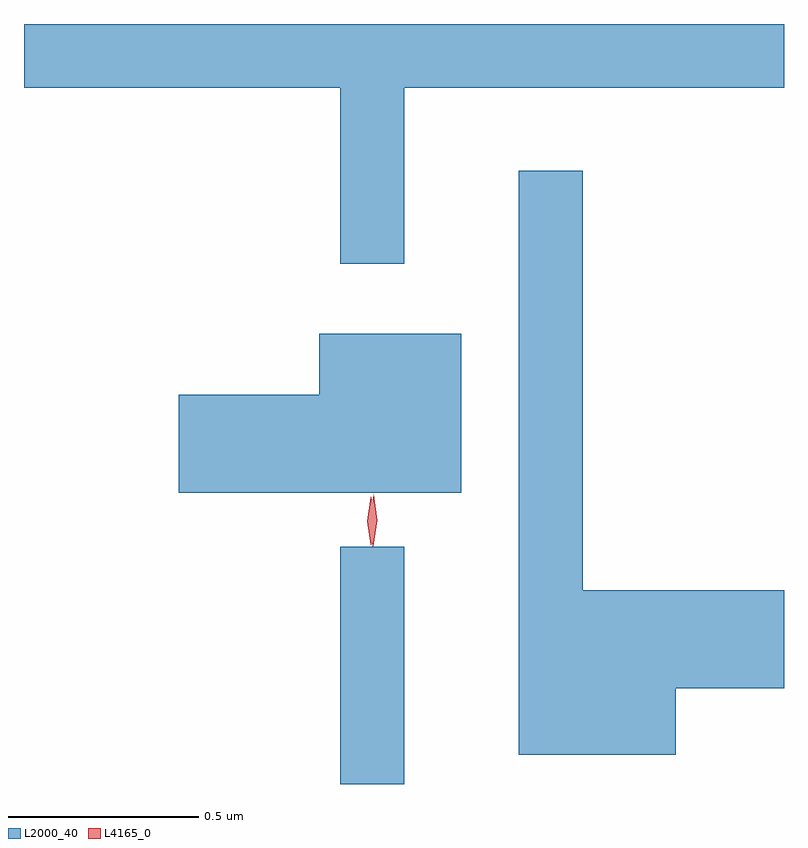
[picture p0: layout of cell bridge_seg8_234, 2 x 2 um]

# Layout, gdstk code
import gdstk
lib = gdstk.Library(unit=1e-6, precision=1e-09)
def R(c, l, rs):  # rectangles x0, y0, x1, y1
    for r in rs: c.add(gdstk.rectangle(r[:2], r[2:], *l))
def P(c, l, *ps):  # polygons
    for p in ps: c.add(gdstk.Polygon(p, *l))
L2000_40 = (2000, 40)
L4165_0 = (4165, 0)

bridge_seg8_234 = lib.new_cell('bridge_seg8_234')
R(bridge_seg8_234, L2000_40, [(1036.751,1901.184,1036.919,1901.808)])
P(bridge_seg8_234, L2000_40, [(1036.919,1903.016),(1037.919,1903.016),(1037.919,1903.184),(1035.919,1903.184),(1035.919,1903.016),(1036.751,1903.016),(1036.751,1902.553),(1036.919,1902.553)],
  [(1037.634,1901.436),(1037.919,1901.436),(1037.919,1901.694),(1037.389,1901.694),(1037.389,1902.798),(1037.221,1902.798),(1037.221,1901.261),(1037.634,1901.261)],
  [(1037.069,1902.369),(1036.696,1902.369),(1036.696,1902.209),(1036.326,1902.209),(1036.326,1901.951),(1037.069,1901.951)])
P(bridge_seg8_234, L4165_0, [(1036.837,1901.81),(1036.829,1901.878),(1036.839,1901.945),(1036.839,1901.946),(1036.84,1901.945),(1036.848,1901.878),(1036.838,1901.81),(1036.838,1901.81)],
  [(1036.832,1901.813),(1036.832,1901.813),(1036.822,1901.876),(1036.832,1901.939),(1036.832,1901.94),(1036.833,1901.939),(1036.842,1901.876),(1036.833,1901.813)])

lib.write_gds('bridge_seg8_234.gds')
